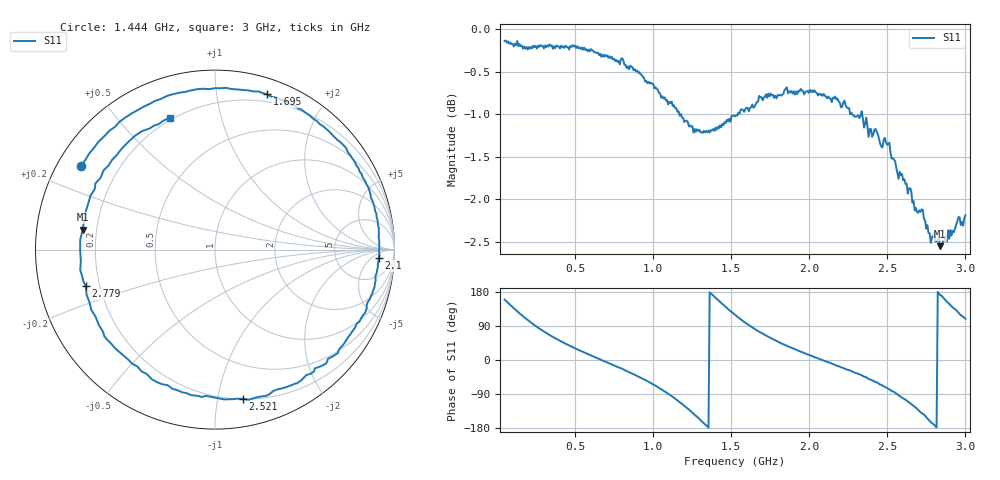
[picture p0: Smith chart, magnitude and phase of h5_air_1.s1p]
! nanovna_capture.py 2026-10-18T19:46:20+0900
! NanoVNA-F_V2 fw 0.6.0 SN 4A3639384505514B
! cal: load open short cal'ed  over 50000000-3000000000 Hz, 201 points
! points 401, avg 4
! 5 mm H loop, tape spacer, free air >=10 cm, capture 1
# HZ S RI R 50
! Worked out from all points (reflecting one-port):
!   401 points, 50 MHz to 3 GHz, reference 50 ohm
!   lowest |S11| = -2.6 dB at 2.838 GHz (marker M1), VSWR 6.85, Z = 7.34 + j3.7 ohm
!   phase of S11 starts at 159 deg and turns -771 deg over the sweep
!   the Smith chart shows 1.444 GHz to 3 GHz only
!   S11 on the Smith chart (normalised r, x): 1.444 GHz: 0.07, +0.29; 1.695 GHz: 0.13, +1.38; 2.1 GHz: 17, -9; 2.521 GHz: 0.20, -1.18; 2.779 GHz: 0.15, -0.14; 3 GHz: 0.19, +0.70
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5e7  -0.9218 0.3453
1.385e8  -0.5699 0.7941
2.19625e8  -0.1442 0.9658
3.08125e8  0.2779 0.9379
4.1875e8  0.657 0.7214
6.03125e8  0.9526 0.201
7.875e8  0.8914 -0.3387
9.055e8  0.6827 -0.6502
1.001375e9  0.3997 -0.838
1.15625e9  -0.2563 -0.8567
1.23e9  -0.5682 -0.6676
1.311125e9  -0.8252 -0.2749
1.3775e9  -0.8651 0.108
1.443875e9  -0.7458 0.4661
1.525e9  -0.4322 0.7765
1.606125e9  -0.0673 0.8962
1.694625e9  0.29 0.8648
1.89375e9  0.7869 0.4698
2.10025e9  0.9127 -0.0455
2.2625e9  0.7911 -0.4105
2.42475e9  0.4552 -0.7457
2.520625e9  0.1559 -0.8309
2.63125e9  -0.2638 -0.7555
2.727125e9  -0.6168 -0.4822
2.77875e9  -0.7203 -0.204
2.83775e9  -0.7367 0.112
2.918875e9  -0.5733 0.5001
3e9  -0.2522 0.735
